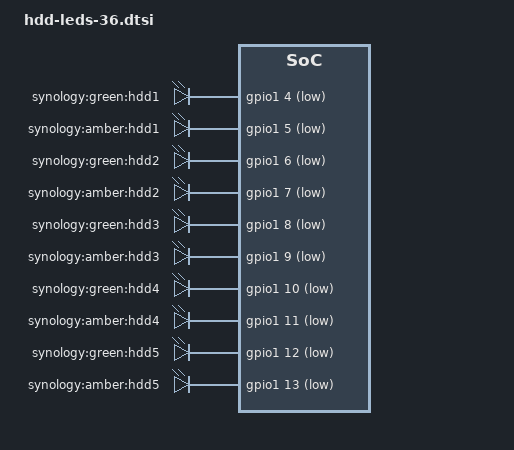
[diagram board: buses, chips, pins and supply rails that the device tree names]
/*
 * Andrew Lunn <andrew@lunn.ch>
 *
 * This file is licensed under the terms of the GNU General Public
 * License version 2.  This program is licensed "as is" without any
 * warranty of any kind, whether express or implied.
 */

/ {
	ocp@f1000000 {
		pinctrl: pinctrl@10000 {

			pmx_led_36: pmx-led-36 {
				marvell,pins = "mpp36";
				marvell,function = "gpio";
			};
			pmx_led_37: pmx-led-37 {
				marvell,pins = "mpp37";
				marvell,function = "gpio";
			};
			pmx_led_38: pmx-led-38 {
				marvell,pins = "mpp38";
				marvell,function = "gpio";
			};
			pmx_led_39: pmx-led-39 {
				marvell,pins = "mpp39";
				marvell,function = "gpio";
			};
			pmx_led_40: pmx-led-40 {
				marvell,pins = "mpp40";
				marvell,function = "gpio";
			};
			pmx_led_41: pmx-led-41 {
				marvell,pins = "mpp41";
				marvell,function = "gpio";
			};
			pmx_led_42: pmx-led-42 {
				marvell,pins = "mpp42";
				marvell,function = "gpio";
			};
			pmx_led_43: pmx-led-43 {
				marvell,pins = "mpp43";
				marvell,function = "gpio";
			};
			pmx_led_44: pmx-led-44 {
				marvell,pins = "mpp44";
				marvell,function = "gpio";
			};
			pmx_led_45: pmx-led-45 {
				marvell,pins = "mpp45";
				marvell,function = "gpio";
			};
		};
	};
	gpio-leds {
		compatible = "gpio-leds";
		pinctrl-0 = <&pmx_led_36 &pmx_led_37 &pmx_led_38
			     &pmx_led_39 &pmx_led_40 &pmx_led_41
			     &pmx_led_42 &pmx_led_43 &pmx_led_44
			     &pmx_led_45>;
		pinctrl-names = "default";
		hdd1-green {
			label = "synology:green:hdd1";
			gpios = <&gpio1 4 GPIO_ACTIVE_LOW>;
		};
		hdd1-amber {
			label = "synology:amber:hdd1";
			gpios = <&gpio1 5 GPIO_ACTIVE_LOW>;
		};
		hdd2-green {
			label = "synology:green:hdd2";
			gpios = <&gpio1 6 GPIO_ACTIVE_LOW>;
		};
		hdd2-amber {
			label = "synology:amber:hdd2";
			gpios = <&gpio1 7 GPIO_ACTIVE_LOW>;
		};
		hdd3-green {
			label = "synology:green:hdd3";
			gpios = <&gpio1 8 GPIO_ACTIVE_LOW>;
		};
		hdd3-amber {
			label = "synology:amber:hdd3";
			gpios = <&gpio1 9 GPIO_ACTIVE_LOW>;
		};
		hdd4-green {
			label = "synology:green:hdd4";
			gpios = <&gpio1 10 GPIO_ACTIVE_LOW>;
		};
		hdd4-amber {
			label = "synology:amber:hdd4";
			gpios = <&gpio1 11 GPIO_ACTIVE_LOW>;
		};
		hdd5-green {
			label = "synology:green:hdd5";
			gpios = <&gpio1 12 GPIO_ACTIVE_LOW>;
		};
		hdd5-amber {
			label = "synology:amber:hdd5";
			gpios = <&gpio1 13 GPIO_ACTIVE_LOW>;
		};
	};
};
